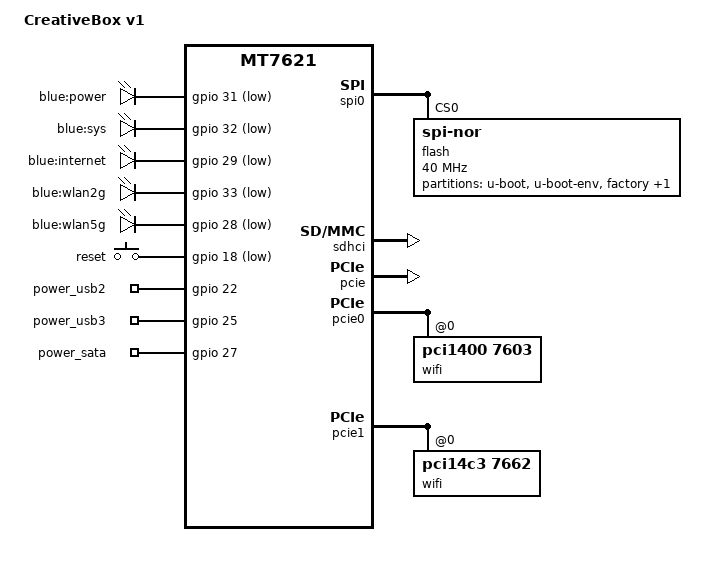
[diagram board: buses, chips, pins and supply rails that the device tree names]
// SPDX-License-Identifier: GPL-2.0-or-later OR MIT

#include "mt7621.dtsi"

#include <dt-bindings/gpio/gpio.h>
#include <dt-bindings/input/input.h>

/ {
	compatible = "xzwifi,creativebox-v1", "mediatek,mt7621-soc";
	model = "CreativeBox v1";

	aliases {
		led-boot = &led_sys;
		led-failsafe = &led_sys;
		led-running = &led_sys;
		led-upgrade = &led_sys;
	};

	chosen {
		bootargs = "console=ttyS0,115200";
	};

	leds {
		compatible = "gpio-leds";

		power {
			label = "blue:power";
			gpios = <&gpio 31 GPIO_ACTIVE_LOW>;
			default-state = "on";
		};

		led_sys: sys {
			label = "blue:sys";
			gpios = <&gpio 32 GPIO_ACTIVE_LOW>;
		};

		internet {
			label = "blue:internet";
			gpios = <&gpio 29 GPIO_ACTIVE_LOW>;
		};

		wlan2g {
			label = "blue:wlan2g";
			gpios = <&gpio 33 GPIO_ACTIVE_LOW>;
			linux,default-trigger = "phy0tpt";
		};

		wlan5g {
			label = "blue:wlan5g";
			gpios = <&gpio 28 GPIO_ACTIVE_LOW>;
			linux,default-trigger = "phy1tpt";
		};
	};

	keys {
		compatible = "gpio-keys";

		reset {
			label = "reset";
			gpios = <&gpio 18 GPIO_ACTIVE_LOW>;
			linux,code = <KEY_RESTART>;
		};
	};

	gpio_export {
		compatible = "gpio-export";
		#size-cells = <0>;

		power_usb2 {
			gpio-export,name = "power_usb2";
			gpio-export,output = <1>;
			gpios = <&gpio 22 GPIO_ACTIVE_HIGH>;
		};

		power_usb3 {
			gpio-export,name = "power_usb3";
			gpio-export,output = <1>;
			gpios = <&gpio 25 GPIO_ACTIVE_HIGH>;
		};

		power_sata {
			gpio-export,name = "power_sata";
			gpio-export,output = <1>;
			gpios = <&gpio 27 GPIO_ACTIVE_HIGH>;
		};
	};
};

&spi0 {
	status = "okay";

	flash@0 {
		compatible = "jedec,spi-nor";
		reg = <0>;
		spi-max-frequency = <40000000>;
		broken-flash-reset;

		partitions {
			compatible = "fixed-partitions";
			#address-cells = <1>;
			#size-cells = <1>;

			partition@0 {
				label = "u-boot";
				reg = <0x0 0x30000>;
				read-only;
			};

			partition@30000 {
				label = "u-boot-env";
				reg = <0x30000 0x10000>;
				read-only;
			};

			factory: partition@40000 {
				label = "factory";
				reg = <0x40000 0x10000>;
				read-only;
			};

			partition@50000 {
				compatible = "denx,uimage";
				label = "firmware";
				reg = <0x50000 0x1fb0000>;
			};
		};
	};
};

&sdhci {
	status = "okay";
};

&pcie {
	status = "okay";
};

&pcie0 {
	wifi@0,0 {
		compatible = "pci1400,7603";
		reg = <0x0000 0 0 0 0>;
		mediatek,mtd-eeprom = <&factory 0x0000>;
	};
};

&pcie1 {
	wifi@0,0 {
		compatible = "pci14c3,7662";
		reg = <0x0000 0 0 0 0>;
		mediatek,mtd-eeprom = <&factory 0x8000>;
		ieee80211-freq-limit = <5000000 6000000>;
	};
};

&ethernet {
	pinctrl-0 = <&mdio_pins>, <&rgmii1_pins>;
};

&gmac0 {
	mtd-mac-address = <&factory 0xe000>;
};

&switch0 {
	ports {
		port@0 {
			status = "okay";
			label = "lan1";
		};

		port@1 {
			status = "okay";
			label = "lan2";
		};

		port@2 {
			status = "okay";
			label = "lan3";
		};

		port@3 {
			status = "okay";
			label = "lan4";
		};

		port@4 {
			status = "okay";
			label = "wan";
			mtd-mac-address = <&factory 0xe000>;
			mtd-mac-address-increment = <1>;
		};
	};
};

&state_default {
	gpio {
		groups = "wdt", "rgmii2";
		function = "gpio";
	};
};
